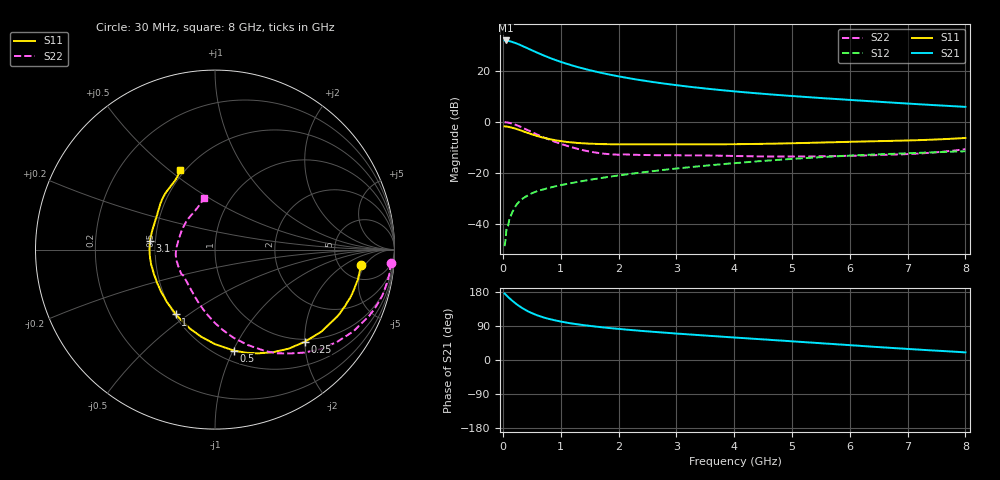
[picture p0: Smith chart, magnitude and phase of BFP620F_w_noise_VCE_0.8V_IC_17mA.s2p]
! Infineon Technologies  Discrete & RF Semiconductors
! BFP620F
! VCE =  0.8 V,  IC =  17 mA
! Common Emitter S-Parameters:  Dec 2014
# GHz  S  MA  R  50
!  f  S11  S21  S12  S22
! GHz  MAG  ANG  MAG  ANG  MAG  ANG  MAG  ANG
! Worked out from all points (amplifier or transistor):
!   95 points, 30 MHz to 8 GHz, reference 50 ohm
!   highest |S21| = 31.9 dB at 50 MHz (marker M1)
!   |S21| within 3 dB of that: start of sweep to 421.2 MHz
!   unconditionally stable (mu >= 1): 3.176 GHz to end of sweep
!   at 300 MHz: K = 0.25, MSG = 30.4 dB, |S12| = -30.8 dB
!   at 3.3 GHz: K = 1.00, MAG = 15.2 dB, |S12| = -17.6 dB
!   at 8 GHz: K = 1.07, MAG = 7.1 dB, |S12| = -11.5 dB
!   lowest NFmin = 0.76 dB at 450 MHz
!   S11 on the Smith chart (normalised r, x): 30 MHz: 7.85, -4.17; 250 MHz: 0.94, -2.00; 500 MHz: 0.60, -1.01; 1 GHz: 0.51, -0.45; 3.1 GHz: 0.47, +0.05; 8 GHz: 0.47, +0.55
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0.03  0.8198 -6.1  39.22 175.4  0.0037 81.7  0.981 -4.3
0.05  0.8141 -10.2  39.29 172.3  0.0053 87.1  0.9813 -7.5
0.09  0.8033 -17.6  38.69 166.4  0.0092 80.8  0.9695 -14.0
0.15  0.7752 -29.0  37.12 158.0  0.0158 77.9  0.9346 -23.3
0.2  0.7482 -37.7  35.5 151.7  0.0208 73.1  0.8959 -30.5
0.25  0.7169 -45.8  33.8 145.8  0.0251 69.8  0.8521 -37.2
0.3  0.6876 -53.4  32.06 140.5  0.029 67.0  0.8072 -43.4
0.4  0.6253 -67.6  28.54 131.2  0.0347 62.1  0.7141 -54.1
0.5  0.5725 -79.4  25.29 123.8  0.04 58.6  0.6337 -63.4
0.6  0.5269 -90.0  22.49 117.6  0.0445 56.6  0.5614 -71.1
0.7  0.4911 -99.1  20.13 112.5  0.0478 55.1  0.5023 -78.1
0.8  0.463 -107.2  18.11 108.3  0.0512 54.4  0.4511 -84.3
1  0.422 -121.1  15 101.5  0.0579 53.6  0.3732 -95.3
1.2  0.3965 -132.6  12.72 96.2  0.064 53.4  0.3176 -105.5
1.4  0.3814 -142.2  11.02 92.0  0.0703 53.5  0.2776 -115.3
2  0.3644 -163.8  7.8 82.1  0.0896 53.1  0.2281 -141.1
2.7  0.365 179.8  5.81 73.3  0.1123 51.2  0.223 -159.4
3.1  0.365 172.4  5.074 68.8  0.1256 49.7  0.2218 -166.8
4.1  0.3676 156.8  3.876 58.4  0.1589 44.8  0.2144 177.9
5.4  0.3922 141.9  2.989 45.3  0.2013 36.6  0.2116 154.5
6.7  0.4252 127.6  2.401 32.1  0.2365 27.1  0.2284 129.9
8  0.4851 113.5  1.971 20.1  0.2663 17.8  0.2921 102.1
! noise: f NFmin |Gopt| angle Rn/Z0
0.45  0.76  0.1  6  0.21
0.9  0.82  0.1  17  0.18
1.5  0.87  0.09  18  0.13
1.8  0.89  0.09  19  0.13
1.9  0.9  0.05  35  0.15
2.4  0.94  0.04  56  0.13
3.5  1.02  0.04  106  0.14
5.5  1.16  0.12  -145  0.09
6  1.2  0.12  240  0.13
